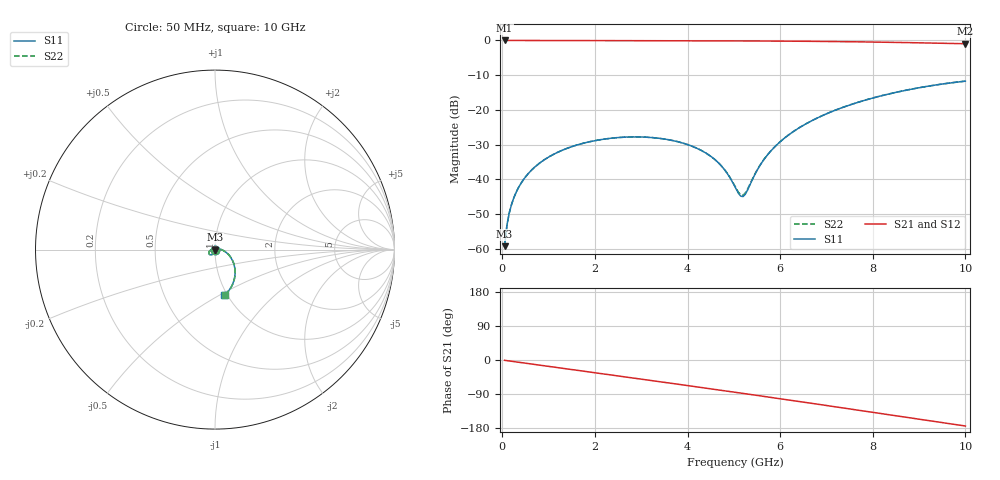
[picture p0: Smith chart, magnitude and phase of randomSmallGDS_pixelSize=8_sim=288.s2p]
! freq	dB(S11)	phase(S11)	dB(S12)	phase(S12)
!  dB(S21)	phase(S21)	dB(S22)	phase(S22)
!S-par simulation data
#  GHz  S  DB  R 50
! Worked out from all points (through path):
!   200 points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, 50 MHz to 10 GHz, reference 50 ohm
!   highest |S21| = 0.00 dB at 50 MHz (marker M1); lowest = -0.9 dB at 10 GHz (marker M2)
!   group delay of S21, straight-line fit = 48.4 ps
!   lowest |S11| = -59.2 dB at 50 MHz (marker M3), VSWR 1.00, Z = 50 - j0.109 ohm
!   |S11| at or under -10 dB: start of sweep to end of sweep
!   |S22| runs from -59.2 to -11.7 dB; largest |S21 - S12| = 0
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0.05  -59.21 -89.5  -0.00 -0.8  -0.00 -0.8  -59.21 -89.5
0.1  -53.20 -91.1  -0.00 -1.7  -0.00 -1.7  -53.20 -91.1
0.2  -47.18 -93.3  -0.00 -3.4  -0.00 -3.4  -47.19 -93.4
0.35  -42.35 -96.2  -0.01 -5.9  -0.01 -5.9  -42.35 -96.2
0.5  -39.29 -99.0  -0.01 -8.5  -0.01 -8.5  -39.29 -99.0
1  -33.56 -107.9  -0.02 -16.8  -0.02 -16.8  -33.56 -108.0
1.75  -29.58 -121.2  -0.04 -29.4  -0.04 -29.4  -29.58 -121.3
2.55  -27.90 -135.4  -0.05 -42.9  -0.05 -42.9  -27.90 -135.5
3.4  -28.19 -151.2  -0.07 -57.2  -0.07 -57.2  -28.19 -151.3
4  -29.97 -163.7  -0.09 -67.4  -0.09 -67.4  -29.96 -164.0
4.45  -32.87 -175.7  -0.10 -75.2  -0.10 -75.2  -32.86 -176.2
4.8  -37.23 168.3  -0.12 -81.2  -0.12 -81.2  -37.19 167.4
5.05  -42.80 137.4  -0.13 -85.6  -0.13 -85.6  -42.59 136.0
5.2  -44.93 88.7  -0.13 -88.2  -0.13 -88.2  -44.54 88.7
5.55  -36.29 20.6  -0.15 -94.3  -0.15 -94.3  -36.21 21.6
5.8  -31.80 7.2  -0.17 -98.7  -0.17 -98.7  -31.76 7.9
6.2  -27.03 -5.2  -0.20 -105.8  -0.20 -105.8  -27.01 -4.8
6.7  -22.99 -16.8  -0.25 -114.7  -0.25 -114.7  -22.97 -16.5
7.45  -18.81 -31.9  -0.36 -128.2  -0.36 -128.2  -18.80 -31.7
8.35  -15.39 -48.8  -0.53 -144.4  -0.53 -144.4  -15.39 -48.6
9.15  -13.27 -63.3  -0.72 -158.9  -0.72 -158.9  -13.26 -63.1
10  -11.71 -78.3  -0.94 -174.2  -0.94 -174.2  -11.71 -78.1
